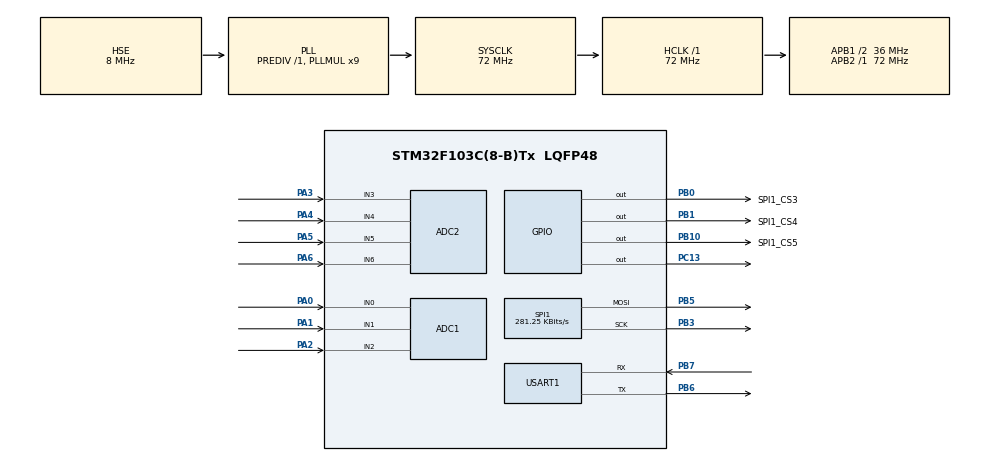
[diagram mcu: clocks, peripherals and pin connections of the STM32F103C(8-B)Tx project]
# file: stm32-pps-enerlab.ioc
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ADC1.Channel-0\#ChannelRegularConversion=ADC_CHANNEL_0
ADC1.Channel-1\#ChannelRegularConversion=ADC_CHANNEL_1
ADC1.Channel-2\#ChannelRegularConversion=ADC_CHANNEL_2
ADC1.Channel-3\#ChannelRegularConversion=ADC_CHANNEL_VREFINT
ADC1.ContinuousConvMode=DISABLE
ADC1.ExternalTrigConv=ADC_EXTERNALTRIGCONV_T3_TRGO
ADC1.Mode=ADC_DUALMODE_REGSIMULT
ADC1.NbrOfConversion=4
ADC1.NbrOfConversionFlag=1
ADC1.Rank-0\#ChannelRegularConversion=1
ADC1.Rank-1\#ChannelRegularConversion=2
ADC1.Rank-2\#ChannelRegularConversion=3
ADC1.Rank-3\#ChannelRegularConversion=4
ADC1.SamplingTime-0\#ChannelRegularConversion=ADC_SAMPLETIME_239CYCLES_5
ADC1.SamplingTime-1\#ChannelRegularConversion=ADC_SAMPLETIME_239CYCLES_5
ADC1.SamplingTime-2\#ChannelRegularConversion=ADC_SAMPLETIME_239CYCLES_5
ADC1.SamplingTime-3\#ChannelRegularConversion=ADC_SAMPLETIME_239CYCLES_5
ADC1.master=1
ADC2.Channel-0\#ChannelRegularConversion=ADC_CHANNEL_3
ADC2.Channel-1\#ChannelRegularConversion=ADC_CHANNEL_4
ADC2.Channel-2\#ChannelRegularConversion=ADC_CHANNEL_5
ADC2.Channel-3\#ChannelRegularConversion=ADC_CHANNEL_6
ADC2.ContinuousConvMode=DISABLE
ADC2.Mode=ADC_DUALMODE_REGSIMULT
ADC2.NbrOfConversion=4
ADC2.NbrOfConversionFlag=1
ADC2.Rank-0\#ChannelRegularConversion=1
ADC2.Rank-1\#ChannelRegularConversion=2
ADC2.Rank-2\#ChannelRegularConversion=3
ADC2.Rank-3\#ChannelRegularConversion=4
ADC2.SamplingTime-0\#ChannelRegularConversion=ADC_SAMPLETIME_239CYCLES_5
ADC2.SamplingTime-1\#ChannelRegularConversion=ADC_SAMPLETIME_239CYCLES_5
ADC2.SamplingTime-2\#ChannelRegularConversion=ADC_SAMPLETIME_239CYCLES_5
ADC2.SamplingTime-3\#ChannelRegularConversion=ADC_SAMPLETIME_239CYCLES_5
Dma.ADC1.0.Direction=DMA_PERIPH_TO_MEMORY
Dma.ADC1.0.Instance=DMA1_Channel1
Dma.ADC1.0.MemDataAlignment=DMA_MDATAALIGN_WORD
Dma.ADC1.0.MemInc=DMA_MINC_ENABLE
Dma.ADC1.0.Mode=DMA_CIRCULAR
Dma.ADC1.0.PeriphDataAlignment=DMA_PDATAALIGN_WORD
Dma.ADC1.0.PeriphInc=DMA_PINC_DISABLE
Dma.ADC1.0.Priority=DMA_PRIORITY_LOW
Dma.Request0=ADC1
Dma.Request1=USART1_TX
Dma.Request2=SPI1_TX
Dma.SPI1_TX.2.Direction=DMA_MEMORY_TO_PERIPH
Dma.SPI1_TX.2.Instance=DMA1_Channel3
Dma.SPI1_TX.2.MemDataAlignment=DMA_MDATAALIGN_BYTE
Dma.SPI1_TX.2.MemInc=DMA_MINC_ENABLE
Dma.SPI1_TX.2.Mode=DMA_NORMAL
Dma.SPI1_TX.2.PeriphDataAlignment=DMA_PDATAALIGN_BYTE
Dma.SPI1_TX.2.PeriphInc=DMA_PINC_DISABLE
Dma.SPI1_TX.2.Priority=DMA_PRIORITY_LOW
Dma.USART1_TX.1.Direction=DMA_MEMORY_TO_PERIPH
Dma.USART1_TX.1.Instance=DMA1_Channel4
Dma.USART1_TX.1.MemDataAlignment=DMA_MDATAALIGN_BYTE
Dma.USART1_TX.1.MemInc=DMA_MINC_ENABLE
Dma.USART1_TX.1.Mode=DMA_NORMAL
Dma.USART1_TX.1.PeriphDataAlignment=DMA_PDATAALIGN_BYTE
Dma.USART1_TX.1.PeriphInc=DMA_PINC_DISABLE
Dma.USART1_TX.1.Priority=DMA_PRIORITY_LOW
Mcu.Family=STM32F1
Mcu.Name=STM32F103C(8-B)Tx
Mcu.Package=LQFP48
NVIC.DMA1_Channel1_IRQn=true\:0\:0\:false\:false\:true\:false\:true\:true
NVIC.DMA1_Channel3_IRQn=true\:0\:0\:false\:false\:true\:false\:true\:true
NVIC.DMA1_Channel4_IRQn=true\:0\:0\:false\:false\:true\:false\:true\:true
NVIC.PriorityGroup=NVIC_PRIORITYGROUP_4
NVIC.SPI1_IRQn=true\:0\:0\:false\:false\:true\:true\:true\:true
NVIC.USART1_IRQn=true\:0\:0\:false\:false\:true\:true\:true\:true
PA0-WKUP.Signal=ADCx_IN0
PA1.Signal=ADCx_IN1
PA13.Mode=Serial_Wire
PA13.Signal=SYS_JTMS-SWDIO
PA14.Mode=Serial_Wire
PA14.Signal=SYS_JTCK-SWCLK
PA2.Signal=ADCx_IN2
PA3.Signal=ADCx_IN3
PA4.Signal=ADCx_IN4
PA5.Signal=ADCx_IN5
PA6.Signal=ADCx_IN6
PB0.GPIO_Label=SPI1_CS3
PB0.Signal=GPIO_Output
PB1.GPIO_Label=SPI1_CS4
PB1.Signal=GPIO_Output
PB10.GPIO_Label=SPI1_CS5
PB10.Signal=GPIO_Output
PB3.Mode=TX_Only_Simplex_Unidirect_Master
PB3.Signal=SPI1_SCK
PB4.Signal=SPI1_MISO
PB5.Mode=TX_Only_Simplex_Unidirect_Master
PB5.Signal=SPI1_MOSI
PB6.Mode=Asynchronous
PB6.Signal=USART1_TX
PB7.Mode=Asynchronous
PB7.Signal=USART1_RX
PC13-TAMPER-RTC.Signal=GPIO_Output
PD0-OSC_IN.Mode=HSE-External-Oscillator
PD0-OSC_IN.Signal=RCC_OSC_IN
PD1-OSC_OUT.Mode=HSE-External-Oscillator
PD1-OSC_OUT.Signal=RCC_OSC_OUT
ProjectManager.HeapSize=0x200
ProjectManager.StackSize=0x400
ProjectManager.TargetToolchain=CMake
RCC.ADCPresc=RCC_ADCPCLK2_DIV6
RCC.AHBFreq_Value=72000000
RCC.APB1CLKDivider=RCC_HCLK_DIV2
RCC.APB1Freq_Value=36000000
RCC.APB1TimFreq_Value=72000000
RCC.APB2Freq_Value=72000000
RCC.APB2TimFreq_Value=72000000
RCC.HCLKFreq_Value=72000000
RCC.PLLMUL=RCC_PLL_MUL9
RCC.PLLSourceVirtual=RCC_PLLSOURCE_HSE
RCC.SYSCLKFreq_VALUE=72000000
RCC.SYSCLKSource=RCC_SYSCLKSOURCE_PLLCLK
RCC.USBFreq_Value=72000000
SH.ADCx_IN0.0=ADC1_IN0,IN0
SH.ADCx_IN1.0=ADC1_IN1,IN1
SH.ADCx_IN2.0=ADC1_IN2,IN2
SH.ADCx_IN3.0=ADC2_IN3,IN3
SH.ADCx_IN4.0=ADC2_IN4,IN4
SH.ADCx_IN5.0=ADC2_IN5,IN5
SH.ADCx_IN6.0=ADC2_IN6,IN6
SPI1.BaudRatePrescaler=SPI_BAUDRATEPRESCALER_256
SPI1.CalculateBaudRate=281.25 KBits/s
SPI1.Direction=SPI_DIRECTION_2LINES
SPI1.Mode=SPI_MODE_MASTER
SPI1.VirtualType=VM_MASTER
TIM3.AutoReloadPreload=TIM_AUTORELOAD_PRELOAD_ENABLE
TIM3.Period=14399
TIM3.Prescaler=0
TIM3.TIM_MasterOutputTrigger=TIM_TRGO_UPDATE
USART1.VirtualMode=VM_ASYNC
VP_ADC1_Vref_Input.Mode=IN-Vrefint
VP_TIM3_VS_ClockSourceINT.Mode=Internal
board=custom

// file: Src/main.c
/* USER CODE BEGIN Header */
/**
  ******************************************************************************
  * @file           : main.c
  * @brief          : Main program body
  ******************************************************************************
  * CAMBIOS RESPECTO A LA VERSION ANTERIOR:
  *
  * [1] POTENCIA ACTIVA P — ahora se calcula con producto directo muestra×muestra
  *     (calculate_active_power) en lugar de DFT bin único.
  *     Ventajas:
  *       - Captura fundamental + armónicos (P total, IEEE 1459-2010)
  *       - El signo es correcto por naturaleza (positivo = consume, negativo = genera)
  *       - No requiere negación manual
  *
  * [2] POTENCIA REACTIVA Q — se mantiene DFT bin k=1 (solo fundamental)
  *     pero se elimina la negación arbitraria. El signo queda determinado
  *     por la convención e^{-jwt} de calculate_single_bin_dft():
  *       Q > 0 : carga inductiva (I retrasada respecto a V)
  *       Q < 0 : carga capacitiva / generación con adelanto de corriente
  *
  * [3] POTENCIA APARENTE S — siempre positiva: S = Vrms * Irms
  *     No se puede calcular con signo porque es una magnitud escalar.
  *
  * [4] FACTOR DE POTENCIA FP — ahora FP = P / S (IEEE 1459-2010)
  *     Rango: [-1, +1]
  *       FP > 0 : consumo neto (cuadrantes I y IV)
  *       FP < 0 : generación neta (cuadrantes II y III)
  *     Se agrega FP_angulo = atan2(Q, P) * (180/pi) para el ángulo de fase
  *     completo en [-180°, +180°], que indica el cuadrante exacto.
  *
  * [5] CONVERSIÓN DE UNIDADES para P:
  *     calculate_active_power() devuelve ADC²  (cuentas_V × cuentas_I).
  *     Se aplica la misma escala que antes:
  *       P_real = P_adc2 * vdda² * Kv * Ki / G
  *     implementado en la nueva función adc2_to_power().
  *
  * [6] AGC CON HISTÉRESIS Y SUBIDA GRADUAL — AdjustCurrentGain_Wiper()
  *
  *     Problema 1 resuelto — subida gradual de ganancia:
  *       Si I_MIN_NOISE < i_max < I_MIN_H durante PER_SUBIDA_GAIN períodos
  *       consecutivos → wiper++ (sube un nivel, gradual).
  *       I_MIN_NOISE separa "señal débil real" de "ruido puro".
  *
  *     Problema 2 resuelto — count_cambio_wiper proporcional al salto:
  *       Si wiper baja más de 1 nivel (reset a 0 desde nivel alto),
  *       count_cambio_wiper = salto_niveles + 1 para descartar los
  *       períodos de establecimiento del MCP4131 + OPAMP.
  *
  *     Problema 3 resuelto — histéresis de doble umbral:
  *       Zona ALTA:  i_max > I_MAX    → bajar    (sin histéresis, reacción inmediata)
  *                   i_max < I_MAX_H  → volver OK (I_MAX_H = I_MAX * 0.85)
  *       Zona BAJA:  i_max < I_MIN    → contar períodos bajos
  *                   i_max > I_MIN_H  → volver OK (I_MIN_H = I_MIN * 1.20)
  *       La histéresis evita el chattering cuando la señal oscila cerca
  *       de los umbrales duros.
  *
  ******************************************************************************
  */
/* USER CODE END Header */
#include "main.h"
#include "adc.h"
#include "dma.h"
#include "spi.h"
#include "tim.h"
#include "usart.h"
#include "gpio.h"

/* USER CODE BEGIN Includes */
#include <stdint.h>
#include <stdio.h>
#include <math.h>
#include "mcp4131.c"
/* USER CODE END Includes */

/* USER CODE BEGIN PTD */
typedef struct {
  uint16_t channels[8];
} ADC_MeasurementData_t;
/* USER CODE END PTD */

/* USER CODE BEGIN PD */
#define FIRMWARE_VERSION "1.4.2"

#define PER_ADC_CHANNEL_COUNT 4U
#define TOTAL_CHANNELS        6U
#define TOTAL_PHASES          3U
#define MAX_SAMPLES           120 // Cantidad máxima de muestras por periodo
#define MAX_RMS               128 // Cantidad muestras RMS por canal
#define MAX_RMS_PROM          3   // Cantidad de valores RMS promediados 10 = 50 segundos
#define HYST                  40  // Histéresis para cruce (cuentas ADC)

#define I_MAX            1945   /* 95% de fondo de escala = 0.95 * 4095/2    */
#define I_MIN            204    /* 10% de fondo de escala = 0.10 * 4095/2    */
#define I_MIN_NOISE      61     /* < 3% de fondo de escala: ruido puro       */

/* --- Períodos para subida gradual de ganancia ---
 *
 * PER_SUBIDA_GAIN: número de períodos consecutivos con señal baja pero
 *   presente (I_MIN_NOISE < i_max < I_MIN) antes de subir un nivel de
 *   ganancia. Evita subir por transitorios cortos.
 *
 * PER_NO_SIGNAL: períodos con señal < I_MIN_NOISE para resetear a G=1×.
 *   Se mantiene en 1 para reacción rápida ante pérdida total de señal.
 */
#define PER_SUBIDA_GAIN     3U
#define TOTAL_GAIN_CURRENT  7U  // cantidad de niveles de ganancia de corriente
#define TIMEOUT_MAX         500U// cantidad de periodos para timeout de cruce por cero
#define PER_NO_SIGNAL       1U  // cantidad de periodos sin señal para resetear wiper a ganancia mínima

#define CONV_RAD_TO_DEG     57.2957795131f // 180 / pi

// Tensión
const float V1_GAIN = 0.08298163366060f;
const float V2_GAIN = 0.08370538179293f;
const float V3_GAIN = 0.08293229644034f;
// Corriente
const float I1_GAIN = 0.01558602235028322576f;
const float I2_GAIN = 0.01591030522616499604f;
const float I3_GAIN = 0.01613464679895692741f;

/* USER CODE END PD */

/* USER CODE BEGIN PV */

/* ADC multimode DMA buffer: each entry is a 32-bit word where
 * lower 16 bits = ADC1 sample, upper 16 bits = ADC2 sample.
 */
static uint32_t adc_dma_buf[PER_ADC_CHANNEL_COUNT];
static ADC_MeasurementData_t adcIncData;

char msg[128];
/* Transmit buffer for RMS message - must persist while DMA transmits */
static char rms_tx_buf[1024];

/* MCP4131 Digital Potentiometer handles */
static MCP4131_HandleTypeDef hpot3;  /* CS3 */
static MCP4131_HandleTypeDef hpot4;  /* CS4 */
static MCP4131_HandleTypeDef hpot5;  /* CS5 */

/*flags*/
volatile uint8_t flag_adc_ready = 0;
volatile uint8_t uartReady = 1;
static uint8_t adc_calibrated = 0;
static uint8_t en_region_alta = 0;
static uint8_t muestreo = 0;
static uint8_t primer_periodo = 1;
static uint8_t calculos_ready = 0;
static uint8_t cruce_ascendente = 0;

/*buffers*/
static int16_t sample_buffer[TOTAL_CHANNELS][MAX_SAMPLES];  //se almacenan muestras de un periodo
static float rms_buffer[TOTAL_CHANNELS][MAX_RMS];           //se almacenan valores RMS de un periodo

static float P_buffer[TOTAL_PHASES][MAX_RMS];               //se almacenan valores de potencia activa por periodo
static float Q_buffer[TOTAL_PHASES][MAX_RMS];               //se almacenan valores de potencia reactiva por periodo

static float rms_prom_buffer[TOTAL_CHANNELS][MAX_RMS_PROM];      //se almacenan valores RMS promediados
static float P_prom_buffer[TOTAL_PHASES][MAX_RMS_PROM];          //se almacenan valores de potencia activa promediados
static float Q_prom_buffer[TOTAL_PHASES][MAX_RMS_PROM];          //se almacenan valores de potencia reactiva promediados

static float rms_total[TOTAL_CHANNELS];
static float P_total[TOTAL_PHASES];
static float Q_total[TOTAL_PHASES];
static float S[TOTAL_PHASES];
static float FP[TOTAL_PHASES];
static float phi[TOTAL_PHASES]; //angulo de fase completo en [-180, +180] grados
static float FP_calculado[TOTAL_PHASES]; //factor de potencia calculado a partir del ángulo de fase, para comparación con FP=P/S

static float rms_real[TOTAL_CHANNELS];                      //valores RMS convertidos a voltaje y corriente

static int16_t i_max[TOTAL_PHASES] = {0,0,0};  //se almacena el pico maximo de corriente de cada fase por periodo
static int16_t i_min[TOTAL_PHASES] = {0,0,0};  //se almacena el pico minimo de corriente de cada fase por periodo

static int8_t wiper[TOTAL_PHASES] = {6, 6, 6};
static uint8_t cambio_wiper[TOTAL_PHASES] = {0, 0, 0};
static uint8_t count_cambio_wiper[TOTAL_PHASES] = {0, 0, 0};
const uint8_t wiper_position[TOTAL_GAIN_CURRENT] = {64, 85, 102, 113, 120, 124, 126};
//const uint8_t wiper_position_reverse[TOTAL_GAIN_CURRENT] = {64, 43, 26, 15, 8, 4, 2};
static float gain_table[TOTAL_PHASES] = {1, 1, 1};

static uint8_t count_noSignal[TOTAL_PHASES] = {0, 0, 0}; // contador de periodos sin señal para cada fase

/* [CAMBIO 6] contador de períodos con señal baja pero presente (para subida gradual) */
static uint8_t count_señalBaja[TOTAL_PHASES] = {0, 0, 0};

static const uint8_t valid_channels[TOTAL_CHANNELS] = {0,1,2,4,5,6};

/*indices*/
static uint8_t sample_index = 0;
static int16_t rms_index = -1;
static int16_t rms_prom_index = -1;

static uint16_t timeout = 0;
static uint16_t timer_cont = 0;

static float vdda = 3.3f;
static int16_t v1 = 0; // Tension fase 1 -> referencia para cruce por cero

/* USER CODE END PV */

void SystemClock_Config(void);
/* USER CODE BEGIN PFP */
static float calculate_rms(int16_t *buffer, uint8_t samples);
static float adc_to_voltage(float adc_value, uint8_t phase);
static float adc_to_current(float adc_value, float gain, uint8_t phase);

static float adc2_to_power(float adc2_value, float gain, uint8_t phase);

void AdjustCurrentGain_Wiper(void);
//uint8_t reverse_vector(const uint8_t *vector, uint8_t index);
float calculate_gain(uint8_t wiper_position, uint8_t invertido);

static float calculate_active_power(int16_t *buffer_v, int16_t *buffer_i, uint8_t samples);
static void calculate_single_bin_dft(int16_t *buffer, uint8_t samples, float *real, float *imag);
static float calculate_mean(float *buffer, uint8_t samples);

void vdda_calibrated(void);

/* USER CODE END PFP */

int main(void)
{

  /* MCU Configuration--------------------------------------------------------*/

  /* Reset of all peripherals, Initializes the Flash interface and the Systick. */
  HAL_Init();

  /* Configure the system clock */
  SystemClock_Config();

  /* Initialize all configured peripherals */
  MX_GPIO_Init();
  MX_DMA_Init();
  MX_ADC1_Init();
  MX_ADC2_Init();
  MX_SPI1_Init();
  MX_USART1_UART_Init();
  MX_TIM3_Init();
  /* USER CODE BEGIN 2 */
  if (HAL_ADCEx_Calibration_Start(&hadc1) != HAL_OK)
  {
    /* Calibration Error */
    Error_Handler();
  }
  if (HAL_ADCEx_Calibration_Start(&hadc2) != HAL_OK)
  {
    /* Calibration Error */
    Error_Handler();
  }

  HAL_TIM_Base_Start(&htim3); // Start Timer3 (Trigger Source For ADC1)

  HAL_ADC_Start(&hadc2);
  HAL_ADCEx_MultiModeStart_DMA(&hadc1, adc_dma_buf, PER_ADC_CHANNEL_COUNT);

  /* Initialize MCP4131 digital potentiometers */
  MCP4131_Init(&hpot3, &hspi1, SPI1_CS3_GPIO_Port, SPI1_CS3_Pin);
  MCP4131_Init(&hpot4, &hspi1, SPI1_CS4_GPIO_Port, SPI1_CS4_Pin);
  MCP4131_Init(&hpot5, &hspi1, SPI1_CS5_GPIO_Port, SPI1_CS5_Pin);

  v1 = 0; // Tension fase 1 -> referencia para cruce por cero
  cruce_ascendente = 0;

  /* USER CODE END 2 */

  /* Infinite loop */
  /* USER CODE BEGIN WHILE */
  while (1)
  {
    /* Timeout de cruce por cero para evitar quedarse esperando si la TENSION se pierde o es nula
    muestreo a 5kHz (ts = 0,2ms)
    eligiendo un timeout de T (TIMEOUT_MAX)
    numero de muestras: n = T/ts = 500/0,2 = 2500
    */
    if(timer_cont > TIMEOUT_MAX){
      timeout = 1;
      flag_adc_ready = 1; // fuerza a esperar nueva muestra de ADC para iniciar nuevo periodo
      adc_calibrated = 1;
    }

    // Calibra Vdda y termina el ciclo
    if(!adc_calibrated && flag_adc_ready) {
      vdda_calibrated();
      continue;
    }

    // Esperar a que haya datos nuevos de ADC
    if(!flag_adc_ready) {
      continue;
    }

    // Copiar datos ADC de forma atómica para evitar carreras con ISR
    ADC_MeasurementData_t adcData;
    __disable_irq();
    adcData = adcIncData;
    flag_adc_ready = 0;
    __enable_irq();

    // === 1. Leer muestra ADC (referencia para inicio de periodo) ===
    v1 = adcData.channels[0] - adcData.channels[7];

    cruce_ascendente = 0; //flag de cruce por cero ascendente de un periodo de tension

    if(timeout){
      timeout = 0;
      en_region_alta = 0;
      v1 = HYST + 4; // fuerza cruce por cero para iniciar nuevo periodo
      muestreo = 1;
      sample_index = 0;
    }

    // === 2. Detección de cruce por cero con histéresis ===
    if (!en_region_alta && (v1 > HYST)) {
      en_region_alta = 1;
      cruce_ascendente = 1;
      timer_cont = 0; // reset del timer para timeout de cruce por cero
    }
    else if (en_region_alta && (v1 < -HYST)) {
      en_region_alta = 0;
    }

    // === 3. Gestión de inicio / fin de período ===
    if (cruce_ascendente){
      if (!muestreo) {
        // ---- INICIO DE PERÍODO ----
        muestreo = 1;
        sample_index = 0;
      }
      else {
        // ---- FIN DE PERÍODO ----
        muestreo = 0;

        if (primer_periodo) {
          // descartar el primer período
          primer_periodo = 0;
        }
        else {
          rms_index = (rms_index + 1) % MAX_RMS;

          // Evalua saturacion o cambio de wiper
          AdjustCurrentGain_Wiper();

          // Si no se cambia wiper de la fase ph
          // Calcula Vrms, Irms, Pot activa, Pot aparente y Pot reactiva
          // periodo a periodo
          for(uint8_t ph = 0; ph < TOTAL_PHASES; ph++) {
            if(!cambio_wiper[ph]){
              int idx = (int)rms_index - (int)count_cambio_wiper[ph];
              if (idx < 0) idx += MAX_RMS; // wrap-around seguro

              rms_buffer[ph][idx] = calculate_rms(sample_buffer[ph], sample_index);

              //sample_buffer[ph + TOTAL_PHASES][idx] = - sample_buffer[ph + TOTAL_PHASES][idx];

              rms_buffer[ph + TOTAL_PHASES][idx] = calculate_rms(sample_buffer[ph + TOTAL_PHASES], sample_index);

              rms_buffer[ph + TOTAL_PHASES][idx] = adc_to_current(rms_buffer[ph + TOTAL_PHASES][idx], gain_table[ph], ph);

              rms_real[ph] = adc_to_voltage(rms_buffer[ph][idx], ph);

              rms_real[ph + TOTAL_PHASES] = rms_buffer[ph + TOTAL_PHASES][idx];

              /* ----------------------------------------------------------------
               * POTENCIA ACTIVA P
               * Método: producto directo muestra×muestra (IEEE 1459-2010)
               *   P = (1/N) * sum(v[n] * i[n])
               *
               * La función devuelve ADC² → se convierte con adc2_to_power()
               * que aplica: P_real = P_adc2 * vdda² * Kv * Ki / G
               * ---------------------------------------------------------------- */
              float P_adc2 = calculate_active_power(
                  sample_buffer[ph],
                  sample_buffer[ph + TOTAL_PHASES],
                  sample_index);

              P_buffer[ph][idx] = adc2_to_power(P_adc2, gain_table[ph], ph);

              /* ----------------------------------------------------------------
               * POTENCIA REACTIVA Q
               * Método: DFT bin k=1 (solo armonico fundamental).
               *
               * Convención de signo (con e^{-jwt}, factor 2/N):
               *   Q > 0 → corriente retrasada (carga inductiva)
               *   Q < 0 → corriente adelantada (carga capacitiva o generación)
               *
               * Q = 0.5 * (Vim*Ire - Vre*Iim)
               * ---------------------------------------------------------------- */
              float v_re, v_im, i_re, i_im;
              calculate_single_bin_dft(sample_buffer[ph], sample_index, &v_re, &v_im);
              calculate_single_bin_dft(sample_buffer[ph + TOTAL_PHASES], sample_index, &i_re, &i_im);

              float Q_adc2 = 0.5f * (v_im * i_re - v_re * i_im); /* sin negación */

              Q_buffer[ph][idx] = adc2_to_power(Q_adc2, gain_table[ph], ph);
            }
          }

          /* --- Nivel 2: promedio de MAX_RMS períodos --- */
          if(rms_index == MAX_RMS - 1){
            rms_prom_index = (rms_prom_index + 1) % MAX_RMS_PROM;

            for(uint8_t ph = 0; ph < TOTAL_PHASES; ph++) {
              uint8_t n_valid = 1 + rms_index - count_cambio_wiper[ph];

              rms_prom_buffer[ph][rms_prom_index] = calculate_mean(rms_buffer[ph], n_valid);

              rms_prom_buffer[ph + TOTAL_PHASES][rms_prom_index] = calculate_mean(rms_buffer[ph + TOTAL_PHASES], n_valid);

              //rms_real[ph] = adc_to_voltage(rms_prom_buffer[ph][rms_prom_index]);

              P_prom_buffer[ph][rms_prom_index] = calculate_mean(P_buffer[ph], n_valid);
              Q_prom_buffer[ph][rms_prom_index] = calculate_mean(Q_buffer[ph], n_valid);
            }
          }

          /* --- Nivel 3: promedio final y cálculo de S, FP --- */
          if(rms_prom_index == MAX_RMS_PROM - 1){
            rms_prom_index = -1;

            for (uint8_t ph = 0; ph < TOTAL_PHASES; ph++){
              rms_total[ph] = adc_to_voltage(calculate_mean(rms_prom_buffer[ph], MAX_RMS_PROM), ph);

              rms_total[ph + TOTAL_PHASES] = calculate_mean(rms_prom_buffer[ph + TOTAL_PHASES], MAX_RMS_PROM);

              if(rms_total[ph + TOTAL_PHASES] < 0.2f){
                rms_total[ph + TOTAL_PHASES] = 0;
              }

              P_total[ph] = calculate_mean(P_prom_buffer[ph], MAX_RMS_PROM);
              Q_total[ph] = calculate_mean(Q_prom_buffer[ph], MAX_RMS_PROM);

              S[ph] = rms_total[ph] * rms_total[ph + TOTAL_PHASES];

              /* ----------------------------------------------------------------
               * FACTOR DE POTENCIA FP
               *
               * FP = P / S    (IEEE 1459-2010, rango [-1, +1])
               *   FP > 0 : flujo neto de energía hacia la carga (consumo)
               *   FP < 0 : flujo neto de energía hacia la red (generación)
               *
               * phi = atan2(Q, P)  (rango [-180°, +180°])
               *   Cuadrante I   (P>0, Q>0): consumo inductivo       [0°,  90°]
               *   Cuadrante II  (P<0, Q>0): generación capacitiva    [90°, 180°]
               *   Cuadrante III (P<0, Q<0): generación inductiva  [-180°,-90°]
               *   Cuadrante IV  (P>0, Q<0): consumo capacitivo     [-90°,  0°]
               * ---------------------------------------------------------------- */
              if (S[ph] < 0.001f) {
                /* Sin señal: evitar división por cero */
                FP[ph] = 0.0f;
                phi[ph] = 0.0f;
              } else {
                phi[ph] = acosf(P_total[ph] / S[ph]);

                //FP[ph] = cosf(phi[ph]);
                FP[ph] = P_total[ph] / S[ph];

                // Fabri:
                // Banda muerta para Q cercano a cero (+/- 5VAr)
                if (Q_total[ph] <= 5.0f && Q_total[ph] >= -5.0f) {
                // No se tiene suficiente certeza sobre el signo de Q cuando está cerca de cero, tratar como resistivo puro
                  phi[ph] = 0.0f;
                }
                else if(Q_total[ph] < -5.0f){
                  phi[ph] = -phi[ph]; // Corrige el signo del ángulo para cargas capacitivas (Q<0)
                }

                // Fabri:
                // Banda muerta para P cercano a cero (+/- 5W)
                if (P_total[ph] <= 5.0f && P_total[ph] >= -5.0f) {
                  // No se tiene suficiente certeza sobre el signo de P cuando está cerca de cero, tratar como sin señal
                  FP[ph] = 0.0f;
                }

                phi[ph] *= CONV_RAD_TO_DEG;
              }

            }
            calculos_ready = 1; // listo para enviar por UART
            adc_calibrated = 0; // 0 para volver a calibrar Vdda
          }
        }
      }
    }

    // === 4. Acumulación de muestras SOLO dentro del período ===
    if (muestreo) {
      if (sample_index < MAX_SAMPLES) {
        for (uint8_t ch = 0; ch < TOTAL_PHASES; ch++) {
          //en el buffer "valid_channels" se tienen los canales de tension y corriente
          //adcData.channels[7] es el offset común para tensión y corriente, que se resta para centrar en cero
          sample_buffer[ch][sample_index] = (int16_t)adcData.channels[ch] - (int16_t)adcData.channels[7];
          sample_buffer[ch + TOTAL_PHASES][sample_index] = -((int16_t)adcData.channels[ch + TOTAL_PHASES + 1] - (int16_t)adcData.channels[7]);
        }

        // Cálculo de valores máximos y mínimos para cada fase (canales de corriente)
        if (sample_index == 0){
          // Primera muestra del período -> reset de picos de corriente
          for (uint8_t ph = 0; ph < TOTAL_PHASES; ph++){
            i_max[ph] = 0;
            i_min[ph] = 0;
          }
        }else{
          // Actualiza máximos y mínimos de corriente durante el período
          for (uint8_t ph = 0; ph < TOTAL_PHASES; ph++){
            if(sample_buffer[ph+TOTAL_PHASES][sample_index] > i_max[ph]){
              i_max[ph] = sample_buffer[ph+TOTAL_PHASES][sample_index];
            }else if(sample_buffer[ph+TOTAL_PHASES][sample_index] < i_min[ph]){
              i_min[ph] = sample_buffer[ph+TOTAL_PHASES][sample_index];
            }
          }
        }
        sample_index++; // Avanza al siguiente sample del período
      } else {
        // seguridad: overflow del buffer
        muestreo = 0;
        sample_index = 0;
      }
    }

    // === 5. Envío por UART ===
    if (calculos_ready) {
      calculos_ready = 0;

      int len = snprintf(
        rms_tx_buf, sizeof(rms_tx_buf),
        "{\"version\":\"%s\","
        "\"rms\":[%.3f,%.3f,%.3f,%.3f,%.3f,%.3f],"
        "\"p\":[%.3f,%.3f,%.3f],"
        "\"q\":[%.3f,%.3f,%.3f],"
        "\"s\":[%.3f,%.3f,%.3f],"
        "\"fp\":[%.4f,%.4f,%.4f],"
        "\"phi\":[%.2f,%.2f,%.2f]}\r\n",
        FIRMWARE_VERSION,
        rms_total[0], rms_total[1], rms_total[2],
        rms_total[3], rms_total[4], rms_total[5],
        P_total[0],   P_total[1],   P_total[2],
        Q_total[0],   Q_total[1],   Q_total[2],
        S[0],         S[1],         S[2],
        FP[0],        FP[1],        FP[2],
        phi[0], phi[1], phi[2]
      );

      if (len > 0 && len < (int)sizeof(rms_tx_buf) && uartReady) {
        HAL_UART_Transmit_DMA(&huart1, (uint8_t *)rms_tx_buf, (uint16_t)len);
        HAL_GPIO_WritePin(GPIOC, GPIO_PIN_13, GPIO_PIN_RESET);
        uartReady = 0;
      }
    }
    /* USER CODE END WHILE */

  }
}

void SystemClock_Config(void)
{
  RCC_OscInitTypeDef RCC_OscInitStruct = {0};
  RCC_ClkInitTypeDef RCC_ClkInitStruct = {0};
  RCC_PeriphCLKInitTypeDef PeriphClkInit = {0};

  /** Initializes the RCC Oscillators according to the specified parameters
  * in the RCC_OscInitTypeDef structure.
  */
  RCC_OscInitStruct.OscillatorType = RCC_OSCILLATORTYPE_HSE;
  RCC_OscInitStruct.HSEState = RCC_HSE_ON;
  RCC_OscInitStruct.HSEPredivValue = RCC_HSE_PREDIV_DIV1;
  RCC_OscInitStruct.HSIState = RCC_HSI_ON;
  RCC_OscInitStruct.PLL.PLLState = RCC_PLL_ON;
  RCC_OscInitStruct.PLL.PLLSource = RCC_PLLSOURCE_HSE;
  RCC_OscInitStruct.PLL.PLLMUL = RCC_PLL_MUL9;
  if (HAL_RCC_OscConfig(&RCC_OscInitStruct) != HAL_OK)
  {
    Error_Handler();
  }

  /** Initializes the CPU, AHB and APB buses clocks
  */
  RCC_ClkInitStruct.ClockType = RCC_CLOCKTYPE_HCLK|RCC_CLOCKTYPE_SYSCLK
                              |RCC_CLOCKTYPE_PCLK1|RCC_CLOCKTYPE_PCLK2;
  RCC_ClkInitStruct.SYSCLKSource = RCC_SYSCLKSOURCE_PLLCLK;
  RCC_ClkInitStruct.AHBCLKDivider = RCC_SYSCLK_DIV1;
  RCC_ClkInitStruct.APB1CLKDivider = RCC_HCLK_DIV2;
  RCC_ClkInitStruct.APB2CLKDivider = RCC_HCLK_DIV1;

  if (HAL_RCC_ClockConfig(&RCC_ClkInitStruct, FLASH_LATENCY_2) != HAL_OK)
  {
    Error_Handler();
  }
  PeriphClkInit.PeriphClockSelection = RCC_PERIPHCLK_ADC;
  PeriphClkInit.AdcClockSelection = RCC_ADCPCLK2_DIV6;
  if (HAL_RCCEx_PeriphCLKConfig(&PeriphClkInit) != HAL_OK)
  {
    Error_Handler();
  }
}

/* USER CODE BEGIN 4 */
void HAL_ADC_ConvCpltCallback(ADC_HandleTypeDef* hadc) {
  if (hadc->Instance != ADC1) {
    return;
  }

  /* Unpack DMA multimode buffer into adcData struct (8 channels)
   * lower 16 bits = ADC1 sample -> channels[0..PER_ADC_CHANNEL_COUNT-1]
   * upper 16 bits = ADC2 sample -> channels[PER_ADC_CHANNEL_COUNT..(2*PER_ADC_CHANNEL_COUNT-1)]
   */
  for (uint32_t i = 0; i < PER_ADC_CHANNEL_COUNT; i++) {
    uint32_t packed = adc_dma_buf[i];
    adcIncData.channels[i] = (uint16_t)(packed & 0xFFFF);
    adcIncData.channels[i + PER_ADC_CHANNEL_COUNT] = (uint16_t)((packed >> 16) & 0xFFFF);
  }

  timer_cont++;
  flag_adc_ready = 1; /* Signal main loop that new ADC data is ready */
}

void HAL_UART_TxCpltCallback(UART_HandleTypeDef *huart) {
  if (huart->Instance == USART1) {
    HAL_GPIO_WritePin(GPIOC, GPIO_PIN_13, GPIO_PIN_SET);
    uartReady = 1;
  }
}

void HAL_SPI_TxCpltCallback(SPI_HandleTypeDef *hspi) {
  if (hspi->Instance == SPI1) {
    // Check which potentiometer completed and release its CS
    if (hpot3.busy && hpot3.hspi == hspi) {
      MCP4131_TxCpltCallback(&hpot3);
    } else if (hpot4.busy && hpot4.hspi == hspi) {
      MCP4131_TxCpltCallback(&hpot4);
    } else if (hpot5.busy && hpot5.hspi == hspi) {
      MCP4131_TxCpltCallback(&hpot5);
    }
  }
}

static float calculate_rms(int16_t *buffer, uint8_t samples) {
  if (samples == 0) return 0.0f;

  float sum = 0.0f;
  for (uint16_t i = 0; i < samples; i++) {
      sum += (float)buffer[i] * (float)buffer[i];
  }
  return (sqrtf(sum / (float)samples));
}

void vdda_calibrated(void) {
  ADC_MeasurementData_t adcData;
  __disable_irq();
  adcData = adcIncData;
  //flag_adc_ready = 0;
  __enable_irq();

  uint16_t adc_vrefint = adcData.channels[3];

  vdda = (1.21f * 4095.0f) / (float)adc_vrefint;

  adc_calibrated = 1;
}

static float adc_to_voltage(float adc_value, uint8_t phase)
{
  // ECUACION: V = adc_value * (vdda/4095) * (Vi/Vo)

  switch (phase) {
    case 0: return adc_value * vdda * V1_GAIN;
    case 1: return adc_value * vdda * V2_GAIN;
    case 2: return adc_value * vdda * V3_GAIN;
    default: return 0.0f;
  }
}

static float adc_to_current(float adc_value, float gain, uint8_t phase)
{
  // ECUACION: I = adc_value * (vdda/4095) * (Ii/Io) / gain_variable

  switch (phase) {
    case 0: return (adc_value * vdda / gain) * I1_GAIN;
    case 1: return (adc_value * vdda / gain) * I2_GAIN;
    case 2: return (adc_value * vdda / gain) * I3_GAIN;
    default: return 0.0f;
  }
}

/* -----------------------------------------------------------------------
 * adc2_to_power — convierte ADC² a Watts o VAr
 *
 * La calculate_single_bin_dft() y calculate_active_power() trabajan sobre muestras crudas ADC,
 * por lo que el resultado está en unidades ADC_V × ADC_I.
 *
 * La conversión correcta es:
 *   P_real [W] = P_adc2 × (vdda × Kv) × (vdda × Ki / G)
 *              = P_adc2 × vdda² × Kv × Ki / G
 *
 * Esto es equivalente a aplicar adc_to_voltage() y adc_to_current()
 * como factores de escala (ambas funciones son lineales sin offset),
 * por lo que se puede factorizar directamente.
 * ----------------------------------------------------------------------- */
static float adc2_to_power(float adc2_value, float gain, uint8_t phase) {
  /* Extraer solo el factor de escala de cada conversión:
   *   adc_to_voltage(x, ph)  = x * vdda * Kv   → factor_v = vdda * Kv
   *   adc_to_current(x, g, ph) = x * vdda * Ki / g → factor_i = vdda * Ki / g
   */
  float factor_v, factor_i;
  switch (phase) {
    case 0: factor_v = vdda * V1_GAIN; factor_i = vdda * I1_GAIN / gain; break;
    case 1: factor_v = vdda * V2_GAIN; factor_i = vdda * I2_GAIN / gain; break;
    case 2: factor_v = vdda * V3_GAIN; factor_i = vdda * I3_GAIN / gain; break;
    default: return 0.0f;
  }
  return adc2_value * factor_v * factor_i;
}

// calcula la ganancia real a partir de la posición del wiper
float calculate_gain(uint8_t wiper_position, uint8_t invertido){
  if(invertido){
    return (float) (128.0f - wiper_position)/wiper_position;
  }else{
    return (float) wiper_position/(128.0f - wiper_position);
  }
}

/* --- Potencia activa por producto directo (IEEE 1459-2010) --- */
static float calculate_active_power(int16_t *buffer_tension, int16_t *buffer_corriente, uint8_t samples) {
  if (samples == 0) return 0.0f;

  float acc = 0.0f;
  for (uint16_t n = 0; n < samples; n++) {
    acc += (float)buffer_tension[n] * (float)buffer_corriente[n];
  }
  return (acc / (float) samples);
}

static float calculate_mean(float *buffer, uint8_t samples) {
  if (samples == 0) return 0.0f;

  float acc = 0.0f;
  for (uint16_t i = 0; i < samples; i++) {
      acc += buffer[i];
  }

  return acc / (float)samples;
}

static void calculate_single_bin_dft(int16_t *buffer, uint8_t samples, float *real, float *imag) {
  if (samples == 0) {
    *real = 0.0f;
    *imag = 0.0f;
    return;
  }
  float sum_re = 0.0f;
  float sum_im = 0.0f;
  float omega = 2.0f * 3.1415926535f / (float)samples;
  for (uint16_t n = 0; n < samples; n++) {
    float angle = omega * (float)n;
    sum_re += (float)buffer[n] * cosf(angle);
    sum_im += (float)buffer[n] * sinf(angle);
  }
  *real = 2.0f * sum_re / (float)samples;
  *imag = -2.0f * sum_im / (float)samples;
}

/* -----------------------------------------------------------------------
 * AdjustCurrentGain_Wiper — AGC con histéresis y subida gradual [CAMBIO 6]
 *
 * Máquina de estados por fase:
 *
 *  ZONA ALTA  (i_max > I_MAX):
 *    → wiper-- inmediato (protección de saturación, máxima prioridad)
 *    → count_cambio_wiper = salto_niveles + 1  (tiempo de establecimiento)
 *    → reset contadores de señal baja
 *
 *  ZONA OK  (I_MIN ≤ i_max ≤ I_MAX):
 *    → sin cambio de wiper
 *    → reset de todos los contadores
 *
 *  ZONA BAJA con señal presente  (I_MIN_NOISE < i_max < I_MIN):
 *    → count_señalBaja++
 *    → si count_señalBaja ≥ PER_SUBIDA_GAIN → wiper++ (subida gradual)
 *    → evita subir por transitorios cortos de un período
 *
 *  ZONA RUIDO / sin señal  (i_max ≤ I_MIN_NOISE):
 *    → count_noSignal++
 *    → si count_noSignal ≥ PER_NO_SIGNAL → wiper = 0 (reset a G=7.5×)
 *    → reset count_señalBaja
 *
 *  HISTÉRESIS:
 *    Zona alta:  entra con I_MAX
 *    Zona baja:  entra con I_MIN
 *    Zona ruido: entra con I_MIN_NOISE (sin histéresis, reset inmediato)
 *
 *  count_cambio_wiper:
 *    Bajada de 1 nivel  → 2 períodos descartados (1 settle MCP + 1 OPAMP)
 *    Bajada de N niveles → N + 1 períodos descartados
 *    Subida de 1 nivel  → 2 períodos descartados
 * ----------------------------------------------------------------------- */
void AdjustCurrentGain_Wiper(void) {
  for (uint8_t phase = 0; phase < TOTAL_PHASES; phase++) {
    cambio_wiper[phase] = 0;

    int16_t ipeak = (i_max[phase] > -i_min[phase])
                    ? i_max[phase] : -i_min[phase];

    if (!rms_index) {
      ipeak = 0;
      count_cambio_wiper[phase] = 3;
    }

    /* ---- ZONA ALTA: saturación → bajar ganancia inmediatamente ---- */
    if (ipeak > I_MAX) {
    /* reset contadores de señal baja */
      count_noSignal[phase]   = 0;
      count_señalBaja[phase]  = 0;

      if (wiper[phase] > 0) {
        int8_t wiper_prev = wiper[phase];
        wiper[phase]--;
        cambio_wiper[phase] = 1;
        /* descarte proporcional al salto para garantizar establecimiento */
        count_cambio_wiper[phase] = (uint8_t)(wiper_prev - wiper[phase]) + 1;
      }
    }

    /* ---- ZONA OK con histéresis: i_max entre I_MIN e I_MAX ---- */
    else if (ipeak >= I_MIN) {
      count_noSignal[phase]   = 0;
      count_señalBaja[phase]  = 0;
      /* sin cambio de wiper */
    }

    /* ---- ZONA BAJA con señal presente: subir ganancia gradualmente ---- */
    else if (ipeak >= I_MIN_NOISE){
      /* ipeak ∈ (I_MIN_NOISE, I_MIN) — señal débil pero real */
      count_noSignal[phase] = 0;
      count_señalBaja[phase]++;

      if (count_señalBaja[phase] >= PER_SUBIDA_GAIN) {
        count_señalBaja[phase] = 0;

        if (wiper[phase] < TOTAL_GAIN_CURRENT - 1) {
          wiper[phase]++;
          cambio_wiper[phase]         = 1;
          count_cambio_wiper[phase]   = 2; /* 1 settle MCP + 1 OPAMP */
        }
        /* si ya está en máxima ganancia: no cambiar, no amplificar ruido */
      }
    }

    /* ---- ZONA RUIDO: señal inferior al umbral de ruido ---- */
    else {
      count_señalBaja[phase] = 0;
      count_noSignal[phase]++;

      if (count_noSignal[phase] >= PER_NO_SIGNAL) {
        count_noSignal[phase] = 0;

        if (wiper[phase] != 3) {
          /* reset a G=7.5× para no amplificar ruido y a su vez poder registrar una pequeña señal cuando se conecte algo */
          count_cambio_wiper[phase] = (uint8_t)(wiper[phase]) + 1;
          wiper[phase]    = 3;
          cambio_wiper[phase] = 1;
        }
      }
    }

    /* ---- Comunicación SPI con MCP4131 ---- */
    if (cambio_wiper[phase]) {
      switch (phase) {
        case 0:
          if (MCP4131_IsReady(&hpot3)) {
            MCP4131_WriteWiper_DMA(&hpot3, wiper_position[wiper[phase]]);
            gain_table[phase] = calculate_gain(wiper_position[wiper[phase]], 0);
          } break;
        case 1:
          if (MCP4131_IsReady(&hpot4)) {
            MCP4131_WriteWiper_DMA(&hpot4, wiper_position[wiper[phase]]);
            gain_table[phase] = calculate_gain(wiper_position[wiper[phase]], 0);
          } break;
        case 2:
          if (MCP4131_IsReady(&hpot5)) {
            MCP4131_WriteWiper_DMA(&hpot5, wiper_position[wiper[phase]]);
            gain_table[phase] = calculate_gain(wiper_position[wiper[phase]], 0);
          } break;
      }
    }
  }
}

/* USER CODE END 4 */

void Error_Handler(void)
{
  __disable_irq();
  while (1)
  {
  }
}
